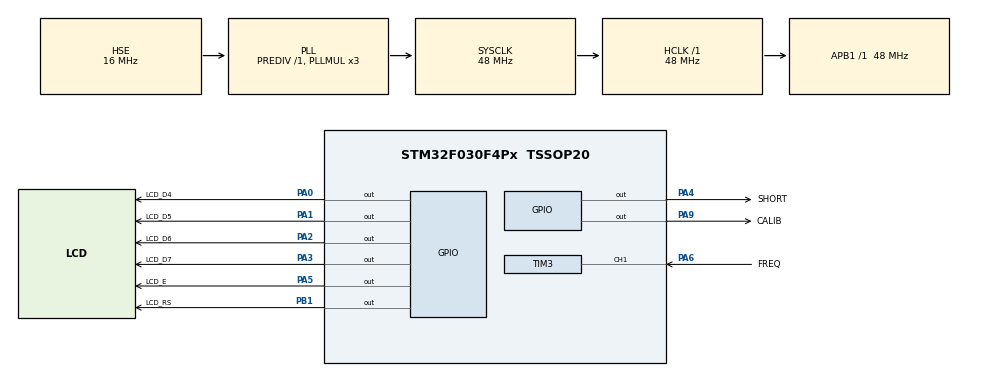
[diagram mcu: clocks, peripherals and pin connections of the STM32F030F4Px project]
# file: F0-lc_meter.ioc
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Mcu.Family=STM32F0
Mcu.Name=STM32F030F4Px
Mcu.Package=TSSOP20
NVIC.TIM3_IRQn=true\:0\:0\:false\:false\:true\:true
PA0.GPIO_Label=LCD_D4
PA0.Signal=GPIO_Output
PA1.GPIO_Label=LCD_D5
PA1.Signal=GPIO_Output
PA13.Mode=Serial_Wire
PA13.Signal=SYS_SWDIO
PA14.Mode=Serial_Wire
PA14.Signal=SYS_SWCLK
PA2.GPIO_Label=LCD_D6
PA2.Signal=GPIO_Output
PA3.GPIO_Label=LCD_D7
PA3.Signal=GPIO_Output
PA4.GPIO_Label=SHORT
PA4.Signal=GPIO_Output
PA5.GPIO_Label=LCD_E
PA5.GPIO_Speed=GPIO_SPEED_FREQ_LOW
PA5.Signal=GPIO_Output
PA6.GPIO_Label=FREQ
PA6.GPIO_Speed=GPIO_SPEED_FREQ_HIGH
PA6.Signal=S_TIM3_CH1
PA9.GPIO_FMA9=SYSCFG_CFGR1_I2C_FMP_PA9
PA9.GPIO_Label=CALIB
PA9.Signal=GPIO_Output
PB1.GPIO_Label=LCD_RS
PB1.Signal=GPIO_Output
PF0-OSC_IN.Mode=HSE-External-Oscillator
PF0-OSC_IN.Signal=RCC_OSC_IN
PF1-OSC_OUT.Mode=HSE-External-Oscillator
PF1-OSC_OUT.Signal=RCC_OSC_OUT
ProjectManager.HeapSize=0x200
ProjectManager.StackSize=0x400
ProjectManager.TargetToolchain=SW4STM32
RCC.AHBFreq_Value=48000000
RCC.APB1Freq_Value=48000000
RCC.APB1TimFreq_Value=48000000
RCC.HCLKFreq_Value=48000000
RCC.HSE_VALUE=16000000
RCC.PLLMUL=RCC_PLL_MUL3
RCC.PLLSourceVirtual=RCC_PLLSOURCE_HSE
RCC.SYSCLKFreq_VALUE=48000000
RCC.SYSCLKSource=RCC_SYSCLKSOURCE_PLLCLK
SH.S_TIM3_CH1.0=TIM3_CH1,TriggerSource_TI1FP1
SH.S_TIM3_CH1.1=TIM3_CH1,Input_Capture1_from_TI1
TIM3.Channel-Input_Capture1_from_TI1=TIM_CHANNEL_1
TIM3.ICFilter_CH1=0
TIM3.ICPolarity_CH1=TIM_INPUTCHANNELPOLARITY_FALLING
TIM3.Period=65535
VP_TIM3_VS_ClockSourceINT.Mode=Internal
VP_TIM3_VS_ControllerModeReset.Mode=Reset Mode
board=custom

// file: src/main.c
/* USER CODE BEGIN Header */
/**
  ******************************************************************************
  * @file           : main.c
  * @brief          : Main program body
  ******************************************************************************
  ** This notice applies to any and all portions of this file
  * that are not between comment pairs USER CODE BEGIN and
  * USER CODE END. Other portions of this file, whether
  * inserted by the user or by software development tools
  * are owned by their respective copyright owners.
  *
  * COPYRIGHT(c) 2019 STMicroelectronics
  *
  * Redistribution and use in source and binary forms, with or without modification,
  * are permitted provided that the following conditions are met:
  *   1. Redistributions of source code must retain the above copyright notice,
  *      this list of conditions and the following disclaimer.
  *   2. Redistributions in binary form must reproduce the above copyright notice,
  *      this list of conditions and the following disclaimer in the documentation
  *      and/or other materials provided with the distribution.
  *   3. Neither the name of STMicroelectronics nor the names of its contributors
  *      may be used to endorse or promote products derived from this software
  *      without specific prior written permission.
  *
  * THIS SOFTWARE IS PROVIDED BY THE COPYRIGHT HOLDERS AND CONTRIBUTORS "AS IS"
  * AND ANY EXPRESS OR IMPLIED WARRANTIES, INCLUDING, BUT NOT LIMITED TO, THE
  * IMPLIED WARRANTIES OF MERCHANTABILITY AND FITNESS FOR A PARTICULAR PURPOSE ARE
  * DISCLAIMED. IN NO EVENT SHALL THE COPYRIGHT HOLDER OR CONTRIBUTORS BE LIABLE
  * FOR ANY DIRECT, INDIRECT, INCIDENTAL, SPECIAL, EXEMPLARY, OR CONSEQUENTIAL
  * DAMAGES (INCLUDING, BUT NOT LIMITED TO, PROCUREMENT OF SUBSTITUTE GOODS OR
  * SERVICES; LOSS OF USE, DATA, OR PROFITS; OR BUSINESS INTERRUPTION) HOWEVER
  * CAUSED AND ON ANY THEORY OF LIABILITY, WHETHER IN CONTRACT, STRICT LIABILITY,
  * OR TORT (INCLUDING NEGLIGENCE OR OTHERWISE) ARISING IN ANY WAY OUT OF THE USE
  * OF THIS SOFTWARE, EVEN IF ADVISED OF THE POSSIBILITY OF SUCH DAMAGE.
  *
  ******************************************************************************
  */
/* USER CODE END Header */

#include "main.h"

/* USER CODE BEGIN Includes */
#include "hd44780.h"
#include <math.h>
#include <stdlib.h>

/* USER CODE END Includes */

TIM_HandleTypeDef htim3;

/* USER CODE BEGIN PV */
/* Private variables ---------------------------------------------------------*/
const double	cal_cap_uF	= 0.001066;									// The calibration capacitance (micro farads)
const double	four_pi_sq	= 39.4784176043574344753379639995;			// 4 * PI^2
const uint32_t 	OPEN_TICKS  = 330000;            						// The sum of ticks in the pulse[] when the circuit is open

// The buffer for pulse data
#define			BUFF_SZ		8
volatile static	uint16_t	pulse[BUFF_SZ];
volatile static uint8_t		pulse_index = 0;
volatile static	uint8_t		pulse_ready = 0;							// The whole buffer has been filled
static double				ticks_LC	= 0.0;
static double				ticks_LCC	= 0.0;

/* USER CODE END PV */

void SystemClock_Config(void);
static void MX_GPIO_Init(void);
static void MX_TIM3_Init(void);
/* USER CODE BEGIN PFP */
/* Private function prototypes -----------------------------------------------*/

/* USER CODE END PFP */

/* USER CODE BEGIN 0 */

// Capture the signal from the timer. 48 ticks per microseconds
void HAL_TIM_IC_CaptureCallback(TIM_HandleTypeDef *htim) {
	if (htim == &htim3) {
		if (htim->Channel == HAL_TIM_ACTIVE_CHANNEL_1) {
			pulse[pulse_index] = HAL_TIM_ReadCapturedValue(htim, TIM_CHANNEL_1);
			if (++pulse_index >= 8) {
				pulse_index = 0;
				pulse_ready = 1;
			}
		}
	}
}

void HAL_TIM_PeriodElapsedCallback(TIM_HandleTypeDef *htim) { }

// Absolute difference of two positive values
uint16_t abs_diff(uint16_t a, uint16_t b) {
    if (a >= b) {
        return a - b;
    } else {
        return b - a;
    }
}

// Oscillation period, ticks
uint32_t oscTicksSumm(uint8_t reset) {
	if (reset) {
		pulse_ready = pulse_index = 0;									// Clear up the buffer
		while (!pulse_ready) ;											// Wait till the whole buffer has been filled up
	}
	uint32_t summ = 0;
	for (uint8_t i = 0; i < 10; ++i) {
		summ	= 0;
		uint16_t min_v	= 65535;
		uint16_t max_v	= 0;
		for (uint8_t i = 0; i < BUFF_SZ; ++i) {
			uint16_t p = pulse[i];
			if (p > max_v) max_v = p;
			if (p < min_v) min_v = p;
			summ += p;
		}
		if (abs_diff(min_v, max_v) < 100) break;
		lcdClrScr();
		pulse_ready = pulse_index = 0;									// Clear up the buffer
		HAL_Delay(1000);												// Wait till the whole buffer has been filled up
	}
	return summ;
}

// The square of the period, microseconds^2. Argument - period in ticks
double periodSquare(double P) {
    double ticks_per_mks = (double)HAL_RCC_GetHCLKFreq() / 1000000.0;  	// The number of timer ticks per one mirco second
    P /= ticks_per_mks;                         						// Convert ticks to micro seconds
    P *= P;
    return P;
}

// Frequently used coefficient:  (P2^2 - P1^2) / P1^2
double pCoeff(double P1, double P2) {
    P1 *= P1;
    P2 *= P2;
    double r  = (P2 - P1) / P1;
    if (r < 0) r = 0;
    return r;
}

void calibrate(void) {
    while (1) {
    	HAL_GPIO_WritePin(SHORT_GPIO_Port, SHORT_Pin, GPIO_PIN_SET);	// Short the external socket
    	HAL_Delay(100);
        ticks_LC = (double)oscTicksSumm(1) / (double)BUFF_SZ;			// Period of the internal oscillation circuit, ticks
        HAL_GPIO_WritePin(CALIB_GPIO_Port, CALIB_Pin, GPIO_PIN_SET);	// Connect the calibration capacitor
        HAL_Delay(100);
        ticks_LCC = (double)oscTicksSumm(1) / (double)BUFF_SZ;				// Period of the internal oscillation circuit + calibration capacitor, ticks
        HAL_GPIO_WritePin(CALIB_GPIO_Port, CALIB_Pin, GPIO_PIN_RESET);	// Disconnect the calibration capacitor
        HAL_GPIO_WritePin(SHORT_GPIO_Port, SHORT_Pin, GPIO_PIN_RESET);	// Open the external socket
        HAL_Delay(200);
        if (ticks_LCC > ticks_LC) break;
        lcdClrScr();
        HAL_Delay(2000);
    }
    while (!pulse_ready) ;												// Wait till the whole buffer has been filled up
    //volatile double int_cap	= cal_cap_uF / pCoeff(ticks_LC, ticks_LCC);
}

void printValue(double value) {
    char buff[3]	= "xH";
    buff[0] = 'u';
    if (value > 1000.0) {
        value /= 1000;
        buff[0] = 'm';
    }

    uint8_t value_size = 3;
    if (value >= 100.0)
    	value_size = 5;
    else if (value >= 10.0)
    	value_size = 4;

    lcdGoto(LCD_1st_LINE, 0);
    lcdPuts("Induct.");
    lcdGoto(LCD_2nd_LINE, 0);
    for (uint8_t i = 0; i < 6-value_size; ++i)
    	lcdPutc(' ');
    lcdFtos(value, 1);
    lcdPuts(buff);
}

void checkInductance(void) {
    static uint16_t ticks_prev	 = 0;									// previous Period of the oscillation, including external inductance or capacitance, ticks
    static uint32_t calibrate_ms = 0;

    uint32_t ticks_new	= oscTicksSumm(0);								// Period of the internal oscillation circuit plus external thing, ticks
    if (ticks_new >= OPEN_TICKS) {
    	lcdClrScr();
        lcdPuts(" NO");
        lcdGoto(LCD_2nd_LINE, 0);
        lcdPuts("value");
    	HAL_Delay(1000);
        return;
    }

    double ticks 	= (double)ticks_new / (double)BUFF_SZ;
    double pi_coeff	= 1 / (four_pi_sq * cal_cap_uF);					// 1 / (4 * PI^2 * Cc)
    double int_ind	= (periodSquare(ticks_LCC) - periodSquare(ticks_LC)) * pi_coeff;
    double ext_ind	= int_ind * pCoeff(ticks_LC, ticks);

    printValue(ext_ind);
    if (HAL_GetTick() >= calibrate_ms || (ticks_prev && abs_diff(ticks_new, ticks_prev) > (BUFF_SZ >> 1))) {
        calibrate_ms = HAL_GetTick() + 10000;							// Do calibration every 10 seconds
        calibrate();
    }
    ticks_prev = ticks_new;
}

/* USER CODE END 0 */

int main(void)
{

  /* MCU Configuration--------------------------------------------------------*/

  /* Reset of all peripherals, Initializes the Flash interface and the Systick. */
  HAL_Init();

  /* Configure the system clock */
  SystemClock_Config();

  /* Initialize all configured peripherals */
  MX_GPIO_Init();
  MX_TIM3_Init();
  /* USER CODE BEGIN 2 */
  HAL_Delay(500);
  lcdInit();

  HAL_TIM_IC_Start_IT(&htim3, TIM_CHANNEL_1);
  /* USER CODE END 2 */

  /* Infinite loop */
  /* USER CODE BEGIN WHILE */

  lcdClrScr();
  calibrate();

  while (1)
  {
	  checkInductance();
	  HAL_Delay(1000);
    /* USER CODE END WHILE */

  }
}

void SystemClock_Config(void)
{
  RCC_OscInitTypeDef RCC_OscInitStruct = {0};
  RCC_ClkInitTypeDef RCC_ClkInitStruct = {0};

  /**Initializes the CPU, AHB and APB busses clocks
  */
  RCC_OscInitStruct.OscillatorType = RCC_OSCILLATORTYPE_HSE;
  RCC_OscInitStruct.HSEState = RCC_HSE_ON;
  RCC_OscInitStruct.PLL.PLLState = RCC_PLL_ON;
  RCC_OscInitStruct.PLL.PLLSource = RCC_PLLSOURCE_HSE;
  RCC_OscInitStruct.PLL.PLLMUL = RCC_PLL_MUL3;
  RCC_OscInitStruct.PLL.PREDIV = RCC_PREDIV_DIV1;
  if (HAL_RCC_OscConfig(&RCC_OscInitStruct) != HAL_OK)
  {
    Error_Handler();
  }
  /**Initializes the CPU, AHB and APB busses clocks
  */
  RCC_ClkInitStruct.ClockType = RCC_CLOCKTYPE_HCLK|RCC_CLOCKTYPE_SYSCLK
                              |RCC_CLOCKTYPE_PCLK1;
  RCC_ClkInitStruct.SYSCLKSource = RCC_SYSCLKSOURCE_PLLCLK;
  RCC_ClkInitStruct.AHBCLKDivider = RCC_SYSCLK_DIV1;
  RCC_ClkInitStruct.APB1CLKDivider = RCC_HCLK_DIV1;

  if (HAL_RCC_ClockConfig(&RCC_ClkInitStruct, FLASH_LATENCY_1) != HAL_OK)
  {
    Error_Handler();
  }
}

static void MX_TIM3_Init(void)
{

  TIM_ClockConfigTypeDef sClockSourceConfig = {0};
  TIM_SlaveConfigTypeDef sSlaveConfig = {0};
  TIM_MasterConfigTypeDef sMasterConfig = {0};
  TIM_IC_InitTypeDef sConfigIC = {0};

  htim3.Instance = TIM3;
  htim3.Init.Prescaler = 0;
  htim3.Init.CounterMode = TIM_COUNTERMODE_UP;
  htim3.Init.Period = 65535;
  htim3.Init.ClockDivision = TIM_CLOCKDIVISION_DIV1;
  htim3.Init.AutoReloadPreload = TIM_AUTORELOAD_PRELOAD_DISABLE;
  if (HAL_TIM_Base_Init(&htim3) != HAL_OK)
  {
    Error_Handler();
  }
  sClockSourceConfig.ClockSource = TIM_CLOCKSOURCE_INTERNAL;
  if (HAL_TIM_ConfigClockSource(&htim3, &sClockSourceConfig) != HAL_OK)
  {
    Error_Handler();
  }
  if (HAL_TIM_IC_Init(&htim3) != HAL_OK)
  {
    Error_Handler();
  }
  sSlaveConfig.SlaveMode = TIM_SLAVEMODE_RESET;
  sSlaveConfig.InputTrigger = TIM_TS_TI1FP1;
  sSlaveConfig.TriggerPolarity = TIM_INPUTCHANNELPOLARITY_FALLING;
  sSlaveConfig.TriggerFilter = 0;
  if (HAL_TIM_SlaveConfigSynchronization(&htim3, &sSlaveConfig) != HAL_OK)
  {
    Error_Handler();
  }
  sMasterConfig.MasterOutputTrigger = TIM_TRGO_RESET;
  sMasterConfig.MasterSlaveMode = TIM_MASTERSLAVEMODE_DISABLE;
  if (HAL_TIMEx_MasterConfigSynchronization(&htim3, &sMasterConfig) != HAL_OK)
  {
    Error_Handler();
  }
  sConfigIC.ICPolarity = TIM_INPUTCHANNELPOLARITY_FALLING;
  sConfigIC.ICSelection = TIM_ICSELECTION_DIRECTTI;
  sConfigIC.ICPrescaler = TIM_ICPSC_DIV1;
  sConfigIC.ICFilter = 0;
  if (HAL_TIM_IC_ConfigChannel(&htim3, &sConfigIC, TIM_CHANNEL_1) != HAL_OK)
  {
    Error_Handler();
  }

}

static void MX_GPIO_Init(void)
{
  GPIO_InitTypeDef GPIO_InitStruct = {0};

  /* GPIO Ports Clock Enable */
  __HAL_RCC_GPIOF_CLK_ENABLE();
  __HAL_RCC_GPIOA_CLK_ENABLE();
  __HAL_RCC_GPIOB_CLK_ENABLE();

  /*Configure GPIO pin Output Level */
  HAL_GPIO_WritePin(GPIOA, LCD_D4_Pin|LCD_D5_Pin|LCD_D6_Pin|LCD_D7_Pin
                          |SHORT_Pin|LCD_E_Pin|CALIB_Pin, GPIO_PIN_RESET);

  /*Configure GPIO pin Output Level */
  HAL_GPIO_WritePin(LCD_RS_GPIO_Port, LCD_RS_Pin, GPIO_PIN_RESET);

  /*Configure GPIO pins : LCD_D4_Pin LCD_D5_Pin LCD_D6_Pin LCD_D7_Pin
                           SHORT_Pin LCD_E_Pin CALIB_Pin */
  GPIO_InitStruct.Pin = LCD_D4_Pin|LCD_D5_Pin|LCD_D6_Pin|LCD_D7_Pin
                          |SHORT_Pin|LCD_E_Pin|CALIB_Pin;
  GPIO_InitStruct.Mode = GPIO_MODE_OUTPUT_PP;
  GPIO_InitStruct.Pull = GPIO_NOPULL;
  GPIO_InitStruct.Speed = GPIO_SPEED_FREQ_LOW;
  HAL_GPIO_Init(GPIOA, &GPIO_InitStruct);

  /*Configure GPIO pin : LCD_RS_Pin */
  GPIO_InitStruct.Pin = LCD_RS_Pin;
  GPIO_InitStruct.Mode = GPIO_MODE_OUTPUT_PP;
  GPIO_InitStruct.Pull = GPIO_NOPULL;
  GPIO_InitStruct.Speed = GPIO_SPEED_FREQ_LOW;
  HAL_GPIO_Init(LCD_RS_GPIO_Port, &GPIO_InitStruct);

  /**/
  HAL_I2CEx_EnableFastModePlus(SYSCFG_CFGR1_I2C_FMP_PA9);

}

void Error_Handler(void)
{
  while(1)
  {
  }
}

/************************ (C) COPYRIGHT STMicroelectronics *****END OF FILE****/
